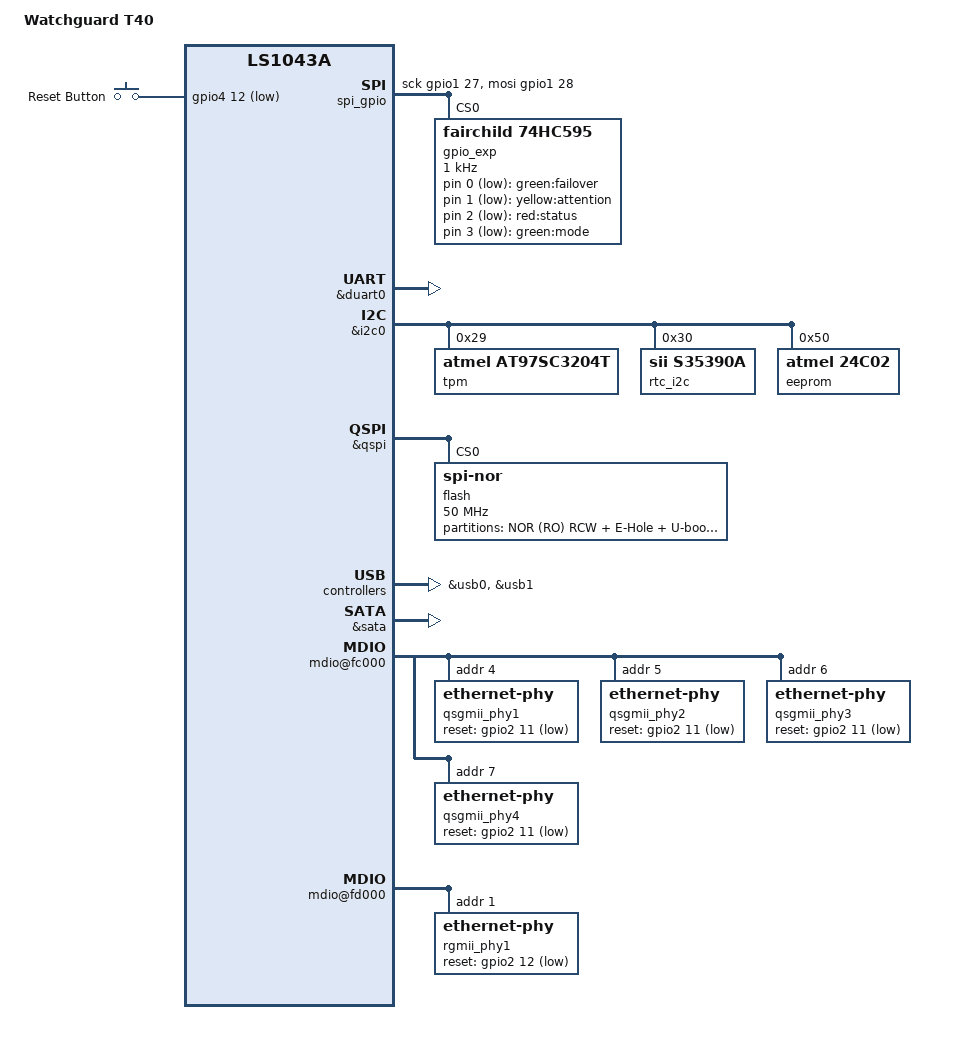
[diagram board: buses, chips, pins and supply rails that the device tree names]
// SPDX-License-Identifier: (GPL-2.0+ OR MIT)
/*
 * Device Tree Include file for Freescale Layerscape-1043A family SoC.
 *
 * Copyright 2014-2015 Freescale Semiconductor, Inc.
 * Copyright 2018-2021 NXP
 *
 * Mingkai Hu <Mingkai.hu@freescale.com>
 */

/dts-v1/;
#include "fsl-ls1043a.dtsi"

/ {
	model = "Watchguard T40";
	compatible = "watchguard,t40", "fsl,ls1043a";

	aliases {
		gpio0 = &gpio1;
		gpio1 = &gpio2;
		gpio2 = &gpio3;
		gpio3 = &gpio4;
		serial0 = &duart0;
		spi0 = &qspi;
		spi1 = &dspi0;
		rtc0 = &rtc_i2c;
		ethernet0 = &enet2;
		ethernet1 = &enet0;
		ethernet2 = &enet1;
		ethernet3 = &enet4;
		ethernet4 = &enet5;
	};

	chosen {
		stdout-path = "serial0:115200n8";
	};
	
	spi_gpio {
		compatible = "spi-gpio";
		#address-cells = <0x1>;
		ranges;

		sck-gpios = <&gpio1 27 0>;
		mosi-gpios = <&gpio1 28 0>;
		num-chipselects = <0>;
		
		gpio_exp: gpio_exp@0 {
		    compatible = "fairchild,74hc595";
		    reg = <0>;
		    gpio-controller;
		    #gpio-cells = <2>;
		    registers-number = <1>;
		    spi-max-frequency = <1000>;
		};
	};
	
	leds {
		compatible = "gpio-leds";
		
		led0 {
			label = "green:failover";
			gpios = <&gpio_exp 0 1>;
			default-state = "off";
		};
		led1 {
			label = "yellow:attention";
			gpios = <&gpio_exp 1 1>;
			default-state = "off";
		};
		led2 {
			label = "red:status";
			gpios = <&gpio_exp 2 1>;
			default-state = "off";
		};
		led3 {
			label = "green:mode";
			gpios = <&gpio_exp 3 1>;
			default-state = "off";
		};
	};
	
	gpio-keys {
		compatible = "gpio-keys";

		reset {
			label = "Reset Button";
			gpios = <&gpio4 12 1>;
		};
	};

&soc {
	/delete-property/ dma-coherent;
};

&duart0 {
	status = "okay";
};

&ifc {
	#address-cells = <2>;
	#size-cells = <1>;
	/* NOR, NAND Flashes and FPGA on board */
	ranges = <0x00 0x00 0x00 0x60000000 0x8000000
		  0x01 0x00 0x00 0x7e800000 0x10000
		  0x02 0x00 0x00 0x7fb00000 0x100>;
	status = "disabled";

	nor@0,0 {
		#address-cells = <0x01>;
		#size-cells = <0x01>;
		compatible = "cfi-flash";
		reg = <0x00 0x00 0x8000000>;
		bank-width = <0x02>;
		device-width = <0x01>;
	};
};

&i2c0 {
	status = "okay";
	
	tpm@29 {
		compatible = "atmel,at97sc3204t";
		reg = <0x29>;
	};

	rtc_i2c: rtc@30 {
		compatible = "sii,s35390a";
		reg = <0x30>;
	};
	
	eeprom@50 {
		compatible = "atmel,24c02";
		reg = <0x50>;
	};
};

&qspi {
	status = "okay";

	flash@0 {
		compatible = "jedec,spi-nor";
		spi-rx-bus-width = <0x04>;
		spi-tx-bus-width = <0x04>;
		spi-max-frequency = <50000000>;
		//#address-cells = <0x01>;
		//#size-cells = <0x01>;
		reg = <0x00>;
		
		partitions {
		        compatible = "fixed-partitions";
        		#address-cells = <1>;
        		#size-cells = <1>;
        		
			partition@0 {
				reg = <0x00 0x200000>;
				label = "NOR (RO) RCW + E-Hole + U-boot Image";
			};

			partition@200000 {
				reg = <0x200000 0x10000>;
				label = "NOR (RW) U-Boot ENV";
			};

			partition@210000 {
				reg = <0x210000 0x10000>;
				label = "NOR (RO) EMPTY Hole 1";
			};

			partition@220000 {
				reg = <0x220000 0x20000>;
				label = "NOR (RW) FMAN UCODE";
			};

			partition@240000 {
				reg = <0x240000 0x40000>;
				label = "NOR (RW) E-HOLE 2 or PPA";
			};

			partition@280000 {
				reg = <0x280000 0x20000>;
				label = "NOR (RW) WG CFG0";
			};

			partition@2a0000 {
				reg = <0x2a0000 0x20000>;
				label = "NOR (RW) WG CFG1";
			};

			partition@2c0000 {
				reg = <0x2c0000 0x20000>;
				label = "NOR (RW) WG MFG";
			};

			partition@2e0000 {
				reg = <0x2e0000 0x20000>;
				label = "NOR (RW) E-HOLE 3";
			};

			partition@300000 {
				reg = <0x300000 0x20000>;
				label = "NOR (RW) FMAN UCODE Old";
			};

			partition@320000 {
				reg = <0x320000 0xe0000>;
				label = "NOR (RW) WG bootOpt Data & reserved";
			};
		};
	};
};

&usb0 {
	status = "okay";
	/delete-property/ dma-coherent;
};

&usb1 {
	status = "okay";
	/delete-property/ dma-coherent;
};


&sata {
	status = "okay";
};

#include "fsl-ls1043-post.dtsi"

&enet0 {
	phy-handle = <&qsgmii_phy1>;
	phy-connection-type = "qsgmii";
};

&enet1 {
	phy-handle = <&qsgmii_phy2>;
	phy-connection-type = "qsgmii";
};

&enet2 {
	phy-handle = <&rgmii_phy1>;
	phy-connection-type = "rgmii-id";
};

&enet4 {
	phy-handle = <&qsgmii_phy3>;
	phy-connection-type = "qsgmii";
};

&enet5 {
	phy-handle = <&qsgmii_phy4>;
	phy-connection-type = "qsgmii";
};

&fman0 {

	mdio@fc000 {
		qsgmii_phy1: ethernet-phy@4 {
			reset-gpios = <&gpio2 11 1>;
			reg = <0x4>;
		};

		qsgmii_phy2: ethernet-phy@5 {
			reset-gpios = <&gpio2 11 1>;
			reg = <0x5>;
		};

		qsgmii_phy3: ethernet-phy@6 {
			reset-gpios = <&gpio2 11 1>;
			reg = <0x6>;
		};

		qsgmii_phy4: ethernet-phy@7 {
			reset-gpios = <&gpio2 11 1>;
			reg = <0x7>;
		};
	};
	
	mdio@fd000 {
		rgmii_phy1: ethernet-phy@1 {
			reset-gpios = <&gpio2 12 1>;
			reg = <0x1>;
		};
	};

};

